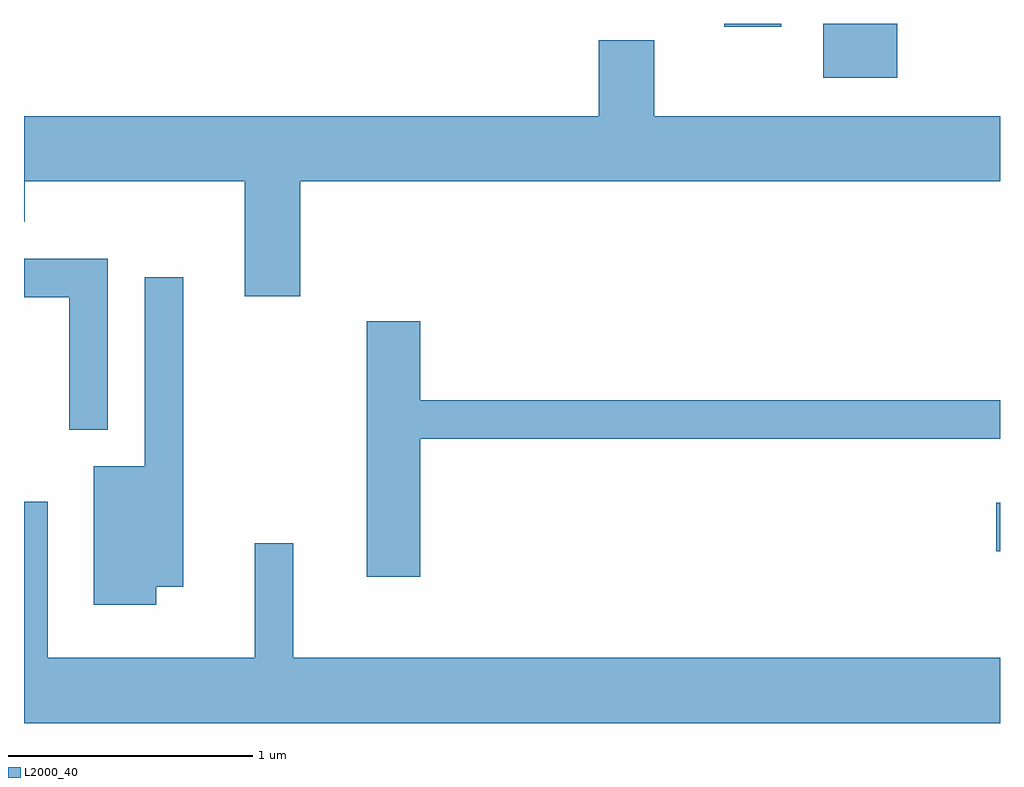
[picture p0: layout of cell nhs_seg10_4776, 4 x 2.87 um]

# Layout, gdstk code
import gdstk
lib = gdstk.Library(unit=1e-6, precision=1e-09)
def R(c, l, rs):  # rectangles x0, y0, x1, y1
    for r in rs: c.add(gdstk.rectangle(r[:2], r[2:], *l))
def P(c, l, *ps):  # polygons
    for p in ps: c.add(gdstk.Polygon(p, *l))
L2000_40 = (2000, 40)

nhs_seg10_4776 = lib.new_cell('nhs_seg10_4776')
R(nhs_seg10_4776, L2000_40, [(329.596,2152.361,329.611,2152.559), (328.886,2154.301,329.189,2154.522), (328.481,2154.511,328.714,2154.522)])
P(nhs_seg10_4776, L2000_40, [(325.611,2153.711),(325.614,2153.711),(325.614,2153.876),(326.516,2153.876),(326.516,2153.406),(326.744,2153.406),(326.744,2153.876),(329.611,2153.876),(329.611,2154.144),(328.194,2154.144),(328.194,2154.454),(327.966,2154.454),(327.966,2154.144),(325.611,2154.144)],
  [(325.954,2153.559),(325.611,2153.559),(325.611,2153.401),(325.796,2153.401),(325.796,2152.858),(325.954,2152.858)],
  [(326.154,2152.216),(326.264,2152.216),(326.264,2153.483),(326.106,2153.483),(326.106,2152.709),(325.896,2152.709),(325.896,2152.141),(326.154,2152.141)],
  [(327.234,2152.821),(329.611,2152.821),(329.611,2152.979),(327.234,2152.979),(327.234,2153.304),(327.016,2153.304),(327.016,2152.256),(327.234,2152.256)],
  [(329.611,2151.924),(326.714,2151.924),(326.714,2152.393),(326.556,2152.393),(326.556,2151.924),(325.709,2151.924),(325.709,2152.563),(325.611,2152.563),(325.611,2151.656),(329.611,2151.656)])

lib.write_gds('nhs_seg10_4776.gds')
